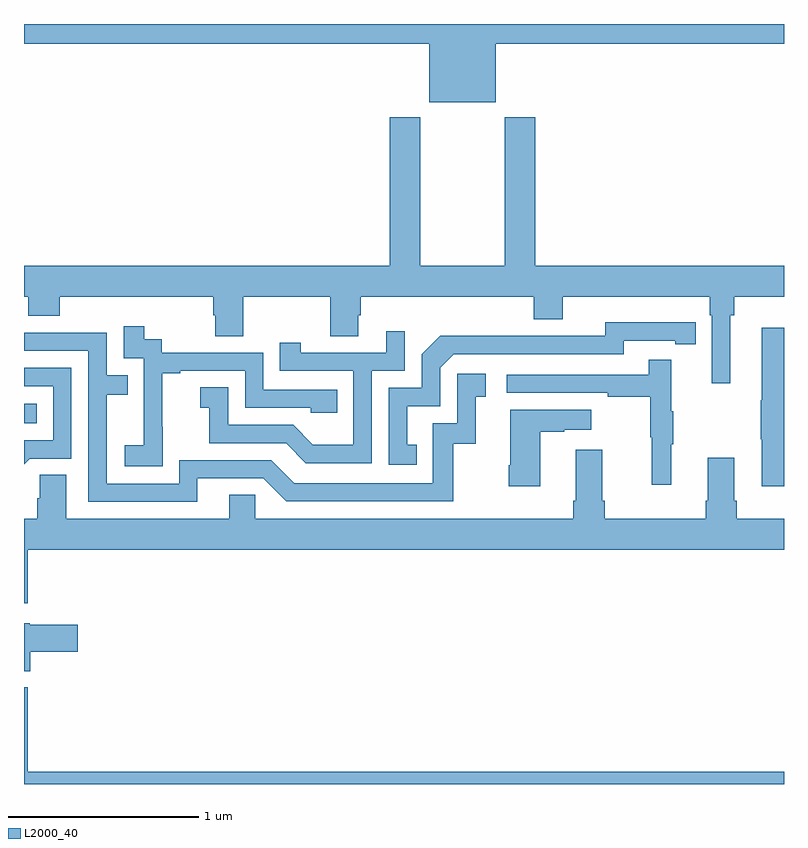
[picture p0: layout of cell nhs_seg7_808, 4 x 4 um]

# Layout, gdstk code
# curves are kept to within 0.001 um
import gdstk
lib = gdstk.Library(unit=1e-6, precision=1e-09)
def R(c, l, rs):  # rectangles x0, y0, x1, y1
    for r in rs: c.add(gdstk.rectangle(r[:2], r[2:], *l))
def P(c, l, *ps):  # polygons
    for p in ps: c.add(gdstk.Polygon(p, *l))
L2000_40 = (2000, 40)

nhs_seg7_808 = lib.new_cell('nhs_seg7_808')
R(nhs_seg7_808, L2000_40, [(171,1051.898,171.068,1052.002)])
P(nhs_seg7_808, L2000_40, [(173.482,1053.896),(175,1053.896),(175,1054),(171,1054),(171,1053.896),(173.132,1053.896),(173.132,1053.587),(173.482,1053.587)],
  [(174.718,1052.468),(174.737,1052.468),(174.737,1052.564),(175,1052.564),(175,1052.728),(173.69,1052.728),(173.69,1053.508),(173.53,1053.508),(173.53,1052.728),(173.085,1052.728),(173.085,1053.508),(172.925,1053.508),(172.925,1052.728),(171,1052.728),(171,1052.564),(171.023,1052.564),(171.023,1052.465),(171.188,1052.465),(171.188,1052.564),(171.995,1052.564),(171.995,1052.466),(172.007,1052.466),(172.007,1052.356),(172.155,1052.356),(172.155,1052.564),(172.612,1052.564),(172.612,1052.356),(172.759,1052.356),(172.759,1052.466),(172.772,1052.466),(172.772,1052.564),(173.684,1052.564),(173.684,1052.447),(173.836,1052.447),(173.836,1052.564),(174.608,1052.564),(174.608,1052.468),(174.621,1052.468),(174.621,1052.109),(174.718,1052.109)],
  [(173.066,1051.785),(173.017,1051.785),(173.017,1051.989),(173.19,1051.989),(173.19,1052.19),(173.262,1052.262),(174.156,1052.262),(174.156,1052.334),(174.428,1052.334),(174.428,1052.314),(174.536,1052.314),(174.536,1052.43),(174.06,1052.431),(174.06,1052.358),(173.6,1052.358),(173.6,1052.36),(173.192,1052.36),(173.094,1052.262),(173.094,1052.085),(172.92,1052.085),(172.92,1051.68),(173.066,1051.68)],
  [(171.729,1051.879),(171.728,1051.879),(171.728,1052.163),(171.823,1052.163),(171.823,1052.175),(172.164,1052.175),(172.164,1051.98),(172.509,1051.98),(172.509,1051.953),(172.649,1051.953),(172.649,1052.076),(172.26,1052.076),(172.26,1052.271),(171.726,1052.271),(171.726,1052.34),(171.634,1052.34),(171.634,1052.41),(171.525,1052.41),(171.525,1052.241),(171.63,1052.241),(171.63,1052.012),(171.629,1052.012),(171.629,1051.783),(171.531,1051.783),(171.531,1051.673),(171.729,1051.673)],
  [(175,1052.401),(174.884,1052.401),(174.884,1052.021),(174.877,1052.021),(174.877,1051.815),(174.884,1051.815),(174.884,1051.566),(175,1051.566)],
  [(172.83,1052.175),(173.004,1052.175),(173.004,1052.383),(172.907,1052.383),(172.907,1052.271),(172.456,1052.271),(172.456,1052.323),(172.345,1052.323),(172.345,1052.175),(172.734,1052.175),(172.734,1051.786),(172.52,1051.786),(172.416,1051.89),(172.074,1051.89),(172.074,1052.089),(171.927,1052.089),(171.927,1051.979),(171.976,1051.979),(171.976,1051.794),(172.379,1051.794),(172.484,1051.689),(172.83,1051.689)],
  [(171.913,1051.608),(172.26,1051.608),(172.38,1051.488),(173.26,1051.488),(173.26,1051.791),(173.378,1051.791),(173.378,1052.037),(173.431,1052.037),(173.431,1052.158),(173.28,1052.158),(173.28,1051.899),(173.151,1051.899),(173.151,1051.584),(172.422,1051.584),(172.302,1051.704),(171.816,1051.704),(171.816,1051.581),(171.435,1051.581),(171.435,1052.05),(171.545,1052.05),(171.545,1052.151),(171.435,1052.151),(171.435,1052.376),(171,1052.376),(171,1052.28),(171.339,1052.28),(171.339,1051.485),(171.913,1051.485)],
  [(174.407,1051.787),(174.418,1051.787),(174.418,1051.961),(174.407,1051.961),(174.407,1052.233),(174.289,1052.233),(174.289,1052.154),(173.541,1052.154),(173.541,1052.058),(174.073,1052.058),(174.073,1052.038),(174.297,1052.038),(174.297,1051.824),(174.304,1051.824),(174.304,1051.575),(174.407,1051.575)],
  [(171.03,1051.713),(171.249,1051.713),(171.249,1052.19),(171,1052.19),(171,1052.094),(171.153,1052.094),(171.153,1051.809),(171,1051.809),(171,1051.683)],
  [(173.716,1051.855),(173.843,1051.855),(173.843,1051.865),(173.986,1051.865),(173.986,1051.969),(173.558,1051.969),(173.558,1051.678),(173.551,1051.678),(173.551,1051.566),(173.716,1051.566)],
  [(171.019,1051.232),(175,1051.232),(175,1051.396),(174.752,1051.396),(174.752,1051.492),(174.739,1051.492),(174.739,1051.717),(174.599,1051.717),(174.599,1051.492),(174.587,1051.492),(174.587,1051.396),(174.056,1051.396),(174.056,1051.492),(174.043,1051.492),(174.043,1051.759),(173.903,1051.759),(173.903,1051.492),(173.891,1051.492),(173.891,1051.396),(172.218,1051.396),(172.218,1051.523),(172.079,1051.523),(172.079,1051.396),(171.223,1051.396),(171.223,1051.628),(171.084,1051.628),(171.084,1051.505),(171.071,1051.505),(171.071,1051.396),(171,1051.396),(171,1050.951),(171.019,1050.951)],
  [(171.034,1050.695),(171.283,1050.695),(171.283,1050.837),(171.03,1050.837),(171.03,1050.847),(171,1050.847),(171,1050.593),(171.034,1050.593)],
  [(171.019,1050.508),(171,1050.508),(171,1050),(175,1050),(175,1050.064),(171.019,1050.064)])

lib.write_gds('nhs_seg7_808.gds')
